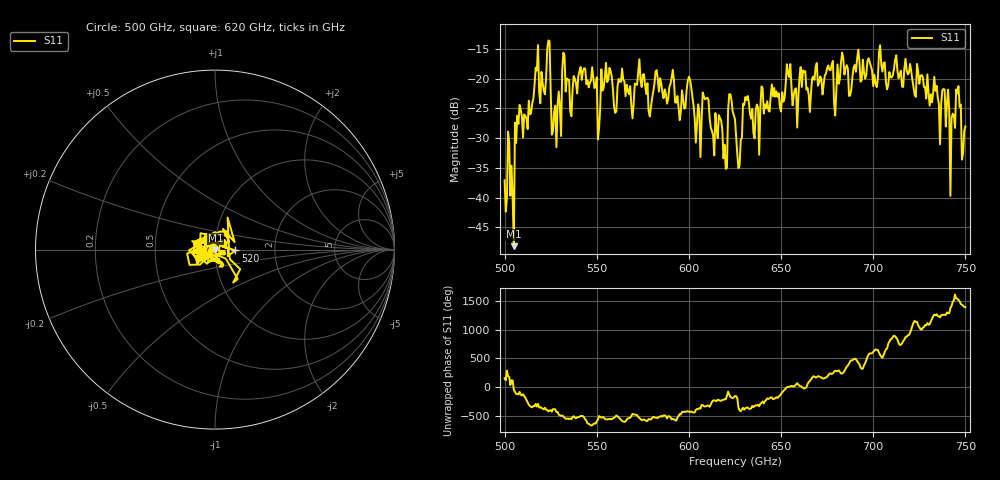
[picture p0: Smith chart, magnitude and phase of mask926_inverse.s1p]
!Created with skrf (http://scikit-rf.org).
# GHz S MA R 50.0
!freq magS11 angS11
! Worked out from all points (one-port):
!   401 points, 500 GHz to 750 GHz, reference 50 ohm
!   lowest |S11| = -48.1 dB at 505 GHz (marker M1), VSWR 1.01, Z = 50.2 - j0.304 ohm
!   |S11| at or under -10 dB: start of sweep to end of sweep
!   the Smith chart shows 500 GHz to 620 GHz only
!   S11 on the Smith chart (normalised r, x): 500 GHz: 0.98, +0.01; 520 GHz: 1.26, -0.01; 620 GHz: 0.97, +0.02
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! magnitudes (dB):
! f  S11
! 500 GHz  -37.1
! 505 GHz  -48.1
! 508.1 GHz  -24.4
! 520 GHz  -18.8
! 523.8 GHz  -13.6
! 526.9 GHz  -25.6
! 531.2 GHz  -18.6
! 542.5 GHz  -18.7
! 550.6 GHz  -30.2
! 562.5 GHz  -20.5
! 590.6 GHz  -19.8
! 593.8 GHz  -22.9
! 600 GHz  -19.7
! 605 GHz  -24.3
! 608.8 GHz  -23.5
! 620 GHz  -35.2
! 622.5 GHz  -22.6
! 625 GHz  -26.8
! 627.5 GHz  -34.6
! 630.6 GHz  -23.1
! 636.9 GHz  -24.3
! 656.2 GHz  -24.5
! 687.5 GHz  -22.8
! 718.8 GHz  -19.3
! 739.4 GHz  -28.0
! 743.1 GHz  -25.9
! 746.2 GHz  -21.2
! 750 GHz  -28.0
